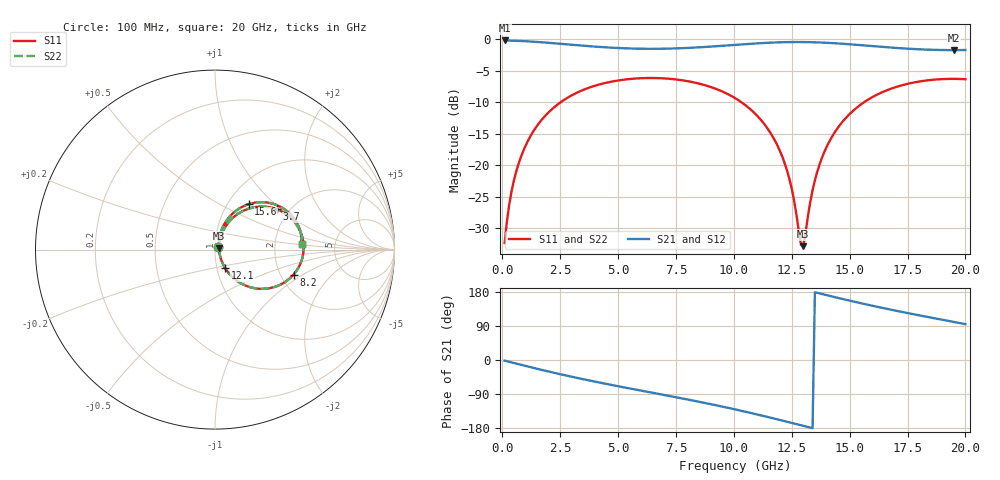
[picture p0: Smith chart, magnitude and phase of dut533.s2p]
! Touchstone file exported from HFSS 2026.1.0
!  File:  C:/ffzhzh/LocalFiles/Ansys_Project_Files/temp_train_TSV_RDL_533_1783112308_53076.aedt
!  Generated:  05:14:15 AM Jul  4, 2026
!  Design:  TSV_RDL
!  Project:  temp_train_TSV_RDL_533_1783112308_53076
! Variables:
!  h_bsmrdl = 5.52um
!  h_ox = 20um
!  h_rdl = 5um
!  h_sub = 82.32um
!  h_tmrdl = 3.71um
!  h_tsv = 82.32um
!  h_via = 3um
!  l_bsmrdl = 491.95um
!  l_sub = 4455.16um
!  l_tmrdl = 610.77um
!  m_sub = 200um
!  pitch = 46.03um
!  r_tsv = 5.92um
!  s_tmrdl = 10um
!  w_bsmrdl = 26.64um
!  w_sub = 500um
!  w_tmrdl = 18.77um
!  x_tsv_center1 = 620.155um
!  x_tsv_center2 = 1138.745um
!  x_tsv_center3 = 1768.285um
!  x_tsv_center4 = 2286.875um
!  x_tsv_center5 = 2916.415um
!  x_tsv_center6 = 3435.005um
# GHz S MA R 50.000000
! Terminal data exported
! Port[1] = TM_RDL1_1_T1
! Port[2] = TM_RDL5_1_T1
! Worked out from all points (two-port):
!   200 points, 100 MHz to 20 GHz, reference 50 ohm
!   highest |S21| = -0.16 dB at 100 MHz (marker M1); lowest = -1.7 dB at 19.5 GHz (marker M2)
!   |S21| within 3 dB of the highest: start of sweep to end of sweep
!   lowest |S11| = -32.8 dB at 13 GHz (marker M3), VSWR 1.05, Z = 52.2 + j0.787 ohm
!   |S11| at or under -10 dB: start of sweep to 2.509 GHz; 10.34 GHz to 15.61 GHz (5.271 GHz wide, 40.6 % of centre)
!   |S22| runs from -32.8 to -6.1 dB; largest |S21 - S12| = 1.8e-14
!   S11 on the Smith chart (normalised r, x): 100 MHz: 1.04, +0.03; 3.7 GHz: 1.73, +0.94; 8.2 GHz: 2.35, -0.83; 12.1 GHz: 1.09, -0.23; 15.6 GHz: 1.24, +0.70; 20 GHz: 2.85, +0.24
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0.1  0.02421 38.3  0.9813 -1.6  0.9813 -1.6  0.02421 38.3
! Gamma 0 0 0 0
! Port Impedance 50 0 50 0
0.3  0.04904 60.9  0.9789 -4.8  0.9789 -4.8  0.04904 60.9
0.5  0.07574 65.9  0.9763 -7.9  0.9763 -7.9  0.07574 65.9
1.1  0.1557 64.5  0.9654 -17.1  0.9654 -17.1  0.1557 64.5
2.1  0.2748 53.1  0.9371 -31.8  0.9371 -31.8  0.2748 53.1
3.5  0.3978 35.6  0.8913 -50.8  0.8913 -50.8  0.3978 35.6
3.7  0.411 33.2  0.8854 -53.3  0.8854 -53.3  0.411 33.2
6.8  0.4926 -2.0  0.843 -90.1  0.843 -90.1  0.4926 -2.0
8.2  0.4591 -17.7  0.8594 -106.6  0.8594 -106.6  0.4591 -17.7
10.1  0.3381 -40.3  0.9067 -131.0  0.9067 -131.0  0.3381 -40.3
11.3  0.2147 -54.7  0.9373 -148.0  0.9373 -148.0  0.2147 -54.7
12.1  0.1164 -61.3  0.9502 -159.9  0.9502 -159.9  0.1164 -61.2
12.5  0.06529 -58.4  0.9532 -166.0  0.9532 -166.0  0.06531 -58.2
12.9  0.02338 -13.2  0.9535 -172.1  0.9535 -172.1  0.02353 -12.9
13  0.02286 19.3  0.9531 -173.6  0.9531 -173.6  0.02303 19.2
13.4  0.0635 68.1  0.95 -179.7  0.95 -179.7  0.06359 68.0
13.7  0.1015 71.5  0.946 175.7  0.946 175.7  0.1016 71.4
14.2  0.1641 69.1  0.9363 168.2  0.9363 168.2  0.1641 69.0
15.6  0.3153 53.5  0.8971 148.3  0.8971 148.3  0.3153 53.4
16.7  0.4008 40.4  0.8642 133.8  0.8642 133.8  0.4009 40.4
19.5  0.4865 9.2  0.8226 100.4  0.8226 100.4  0.4865 9.2
20  0.4832 3.8  0.8242 94.6  0.8242 94.6  0.4832 3.8
